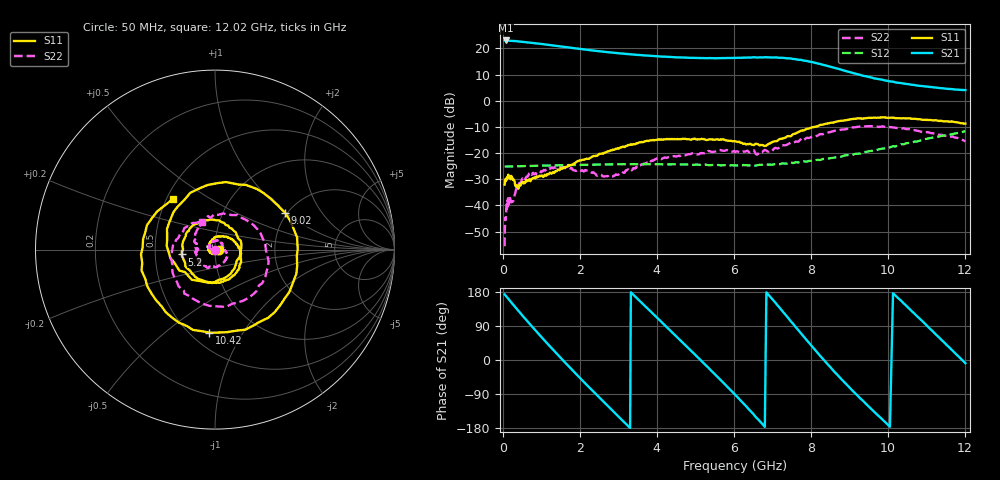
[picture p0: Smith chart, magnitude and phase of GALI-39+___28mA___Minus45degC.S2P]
! Mini-Circuits
! S2P DATA File Format
! Type: MMIC Amplifier
! Model: GALI-39  Reference Data:RDF-1232
! Note: All S Parameters are in dB deg format
! TEST CONDITIONS: INPUT POWER = -25dBm, Icc = 28mA, Vd = 3.77V @Temperature = -45degC
! 401 Frequency points
# MHz S DB R 50
!  FREQ  dB(S11)  PHS(S11)  dB(S21)  PHS(S21)  dB(S12)  PHS(S12)  dB(S22)  PHS(S22)
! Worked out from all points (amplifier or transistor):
!   401 points, 50 MHz to 12.02 GHz, reference 50 ohm
!   highest |S21| = 23.1 dB at 74 MHz (marker M1)
!   |S21| within 3 dB of that: start of sweep to 1.872 GHz
!   unconditionally stable (mu >= 1): start of sweep to end of sweep
!   at 965 MHz: K = 1.06, MAG = 21.8 dB, |S12| = -24.8 dB
!   at 3.31 GHz: K = 1.26, MAG = 18.0 dB, |S12| = -24.2 dB
!   at 12.02 GHz: K = 1.22, MAG = 5.0 dB, |S12| = -11.6 dB
!   S11 on the Smith chart (normalised r, x): 50 MHz: 1.05, -0.00; 5.2 GHz: 0.69, -0.04; 9.02 GHz: 1.95, +0.99; 10.42 GHz: 0.61, -0.73; 12.02 GHz: 0.54, +0.35
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50  -32.05 -3.5  23.06 173.1  -25.11 -4.0  -55.56 -107.5
74  -30.79 -13.1  23.07 170.3  -25.12 -5.5  -45.46 -69.5
475  -31.80 -119.3  22.62 121.8  -25.00 -33.4  -31.23 173.7
810  -29.48 -162.1  22.08 82.9  -24.87 -57.7  -27.94 130.9
1105  -28.37 158.0  21.52 49.7  -24.74 -79.5  -26.64 100.0
1420  -26.63 127.2  20.97 15.0  -24.67 -102.7  -25.00 67.8
2050  -22.68 79.5  19.75 -51.9  -24.45 -150.6  -26.71 15.5
2525  -20.22 48.0  18.92 -100.6  -24.34 172.8  -28.34 -0.7
3100  -17.64 8.6  18.07 -158.5  -24.26 127.1  -27.74 -0.1
3540  -15.91 -24.0  17.52 158.1  -24.26 91.2  -24.79 -5.7
4050  -14.72 -64.4  16.99 107.7  -24.24 48.5  -22.00 -32.8
4540  -14.59 -107.2  16.59 59.3  -24.31 5.9  -21.20 -64.5
5200  -14.61 -171.6  16.34 -6.3  -24.46 -54.5  -20.01 -105.5
6040  -15.46 95.5  16.40 -91.8  -24.67 -135.5  -19.58 -151.8
6530  -16.92 26.6  16.66 -145.1  -24.61 172.2  -18.90 178.3
6920  -16.39 -44.7  16.59 170.3  -24.43 132.1  -19.41 162.5
7480  -13.59 -143.3  16.20 102.7  -23.45 73.4  -15.99 122.3
8040  -10.13 138.3  14.81 35.4  -22.92 14.5  -13.68 76.9
9020  -7.10 27.6  10.96 -73.9  -20.81 -83.6  -10.29 -12.2
10060  -6.48 -63.2  7.43 -176.1  -17.80 179.1  -10.04 -95.5
10420  -6.67 -93.8  6.58 149.1  -16.64 145.7  -10.49 -124.7
12020  -8.71 129.8  4.08 -8.5  -11.58 -3.3  -15.48 115.6
